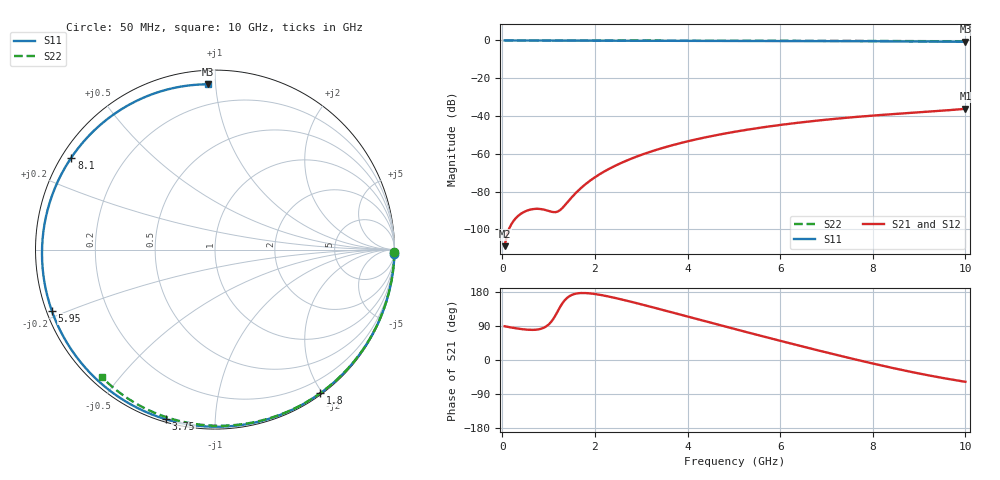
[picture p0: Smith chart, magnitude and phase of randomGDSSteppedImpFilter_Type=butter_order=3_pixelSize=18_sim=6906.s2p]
! freq	dB(S11)	phase(S11)	dB(S12)	phase(S12)
!  dB(S21)	phase(S21)	dB(S22)	phase(S22)
!S-par simulation data
#  GHz  S  DB  R 50
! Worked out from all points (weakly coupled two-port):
!   200 points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, 50 MHz to 10 GHz, reference 50 ohm
!   highest |S21| = -36.21 dB at 10 GHz (marker M1); lowest = -108.9 dB at 50 MHz (marker M2)
!   lowest |S11| = -0.7 dB at 10 GHz (marker M3), VSWR 24.57, Z = 3.89 + j47.7 ohm
!   |S11| at or under -10 dB: nowhere
!   |S22| runs from -0.4 to 0.0 dB; largest |S21 - S12| = 0
!   S11 on the Smith chart (normalised r, x): 50 MHz: 0, -74; 1.8 GHz: 0.02, -1.97; 3.75 GHz: 0.01, -0.75; 5.95 GHz: 0.02, -0.18; 8.1 GHz: 0.03, +0.29; 10 GHz: 0.08, +0.95
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0.05  -0.00 -1.5  -108.93 89.1  -108.93 89.1  -0.00 -0.8
0.4  -0.02 -12.2  -91.81 81.8  -91.81 81.8  -0.01 -6.1
0.8  -0.03 -24.4  -89.20 81.3  -89.20 81.3  -0.02 -12.1
1.6  -0.06 -48.0  -80.46 175.3  -80.46 175.3  -0.03 -24.0
1.75  -0.07 -52.3  -77.07 176.8  -77.07 176.8  -0.03 -26.3
1.8  -0.07 -53.8  -76.05 176.6  -76.05 176.6  -0.03 -27.0
2.1  -0.08 -62.3  -70.88 172.2  -70.88 172.2  -0.04 -31.4
2.45  -0.09 -72.0  -66.21 163.4  -66.21 163.4  -0.05 -36.5
2.9  -0.11 -84.2  -61.50 150.0  -61.50 150.0  -0.06 -42.9
3.4  -0.12 -97.3  -57.38 134.2  -57.38 134.2  -0.07 -50.0
3.75  -0.14 -106.2  -54.96 122.9  -54.96 122.9  -0.07 -54.8
4.35  -0.16 -121.1  -51.49 103.4  -51.49 103.4  -0.09 -63.0
5.05  -0.20 -138.0  -48.23 80.8  -48.23 80.8  -0.11 -72.3
5.95  -0.26 -159.5  -44.91 52.2  -44.91 52.2  -0.14 -83.9
6.7  -0.31 -177.4  -42.70 29.0  -42.70 29.0  -0.18 -93.2
7.4  -0.37 165.3  -41.01 8.0  -41.01 8.0  -0.22 -101.7
8.1  -0.44 147.4  -39.60 -12.1  -39.60 -12.1  -0.27 -109.9
8.35  -0.47 140.7  -39.15 -18.9  -39.15 -18.9  -0.29 -112.8
8.8  -0.52 128.3  -38.38 -30.7  -38.38 -30.7  -0.33 -118.0
9.25  -0.58 115.4  -37.62 -41.6  -37.62 -41.6  -0.37 -123.2
9.65  -0.64 103.4  -36.91 -50.4  -36.91 -50.4  -0.41 -127.7
10  -0.71 92.6  -36.21 -57.5  -36.21 -57.5  -0.45 -131.7
